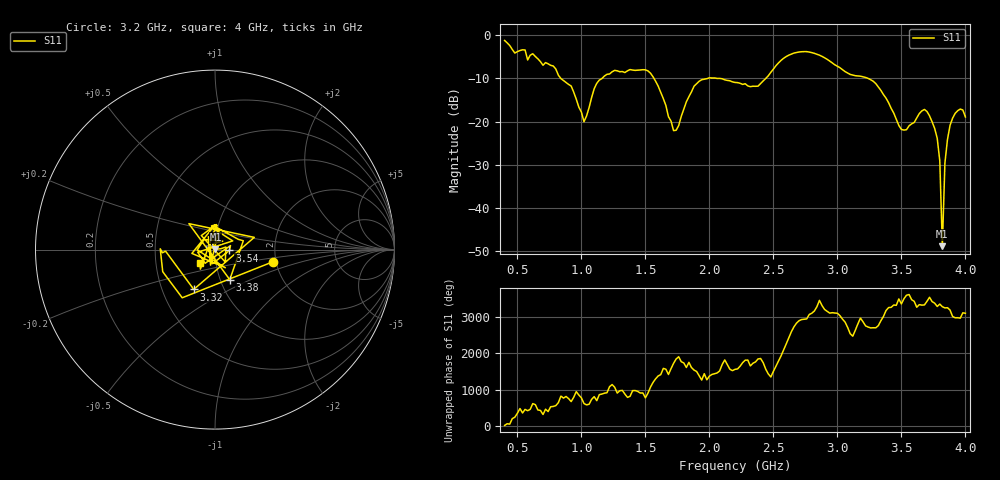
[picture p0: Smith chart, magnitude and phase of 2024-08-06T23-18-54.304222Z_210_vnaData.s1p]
!Created with skrf (http://scikit-rf.org).
# Hz S RI R 50.0
!freq ReS11 ImS11
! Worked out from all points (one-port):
!   181 points, 400 MHz to 4 GHz, reference 50 ohm
!   lowest |S11| = -48.9 dB at 3.82 GHz (marker M1), VSWR 1.01, Z = 50.3 + j0.231 ohm
!   |S11| at or under -10 dB: 1.567 GHz to 1.986 GHz (419.4 MHz wide, 23.6 % of centre); 2.081 GHz to 2.441 GHz (359.8 MHz wide, 15.9 % of centre); 3.24 GHz to end of sweep (the widest 3 of 5)
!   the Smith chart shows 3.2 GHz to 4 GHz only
!   S11 on the Smith chart (normalised r, x): 3.2 GHz: 1.92, -0.29; 3.32 GHz: 0.72, -0.34; 3.38 GHz: 1.11, -0.38; 3.54 GHz: 1.17, -0.01; 4 GHz: 0.84, -0.13
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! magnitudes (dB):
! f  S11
! 400 MHz  -1.2
! 860 MHz  -10.5
! 920 MHz  -11.8
! 1.02 GHz  -20.0
! 1.12 GHz  -11.1
! 1.3 GHz  -8.4
! 1.54 GHz  -8.8
! 1.72 GHz  -22.1
! 1.76 GHz  -20.9
! 1.92 GHz  -10.7
! 2.2 GHz  -10.9
! 2.38 GHz  -11.8
! 2.66 GHz  -4.1
! 3.1 GHz  -9.1
! 3.2 GHz  -9.6
! 3.32 GHz  -12.0
! 3.38 GHz  -14.6
! 3.5 GHz  -21.8
! 3.54 GHz  -21.9
! 3.56 GHz  -21.0
! 3.68 GHz  -17.2
! 3.76 GHz  -21.6
! 3.8 GHz  -29.1
! 3.82 GHz  -48.9
! 3.84 GHz  -29.6
! 3.86 GHz  -24.2
! 3.92 GHz  -18.1
! 4 GHz  -18.9
